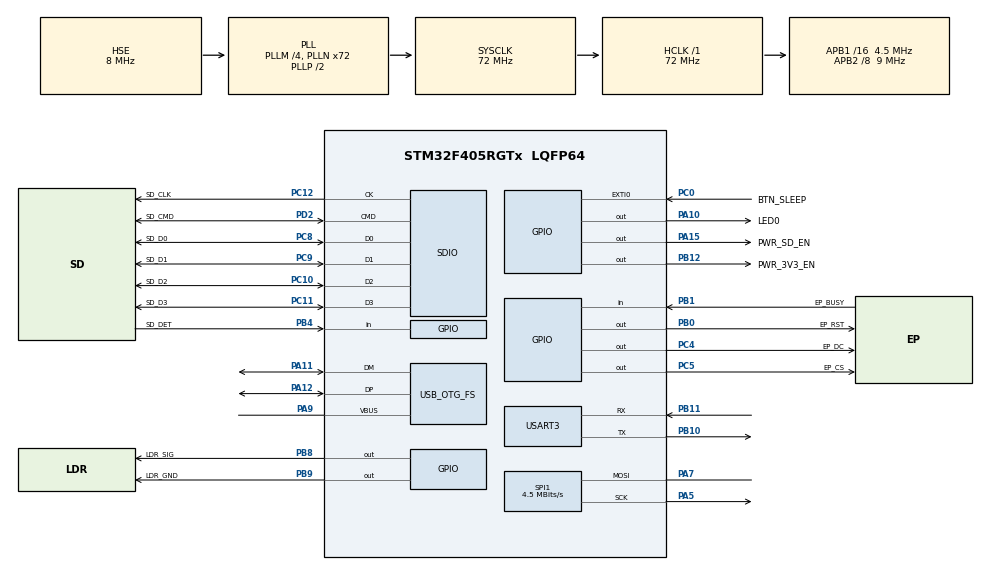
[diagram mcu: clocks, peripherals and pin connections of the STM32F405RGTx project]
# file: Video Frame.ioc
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Mcu.Family=STM32F4
NVIC.USART3_IRQn=true\:0\:0\:true\:false\:true\:false\:true\:true
Dma.SDIO_TX.1.MemInc=DMA_MINC_ENABLE
USB_DEVICE.CLASS_NAME_FS=CDC
PH0-OSC_IN.Signal=RCC_OSC_IN
RCC.CortexFreq_Value=9000000
PC10.GPIO_PuPd=GPIO_PULLUP
FATFS._USE_LFN=0
SPI1.VirtualType=VM_MASTER
FATFS0.BSP.api=Unknown
PB10.Mode=Asynchronous
VP_FATFS_VS_SDIO.Mode=SDIO
PC10.Signal=SDIO_D2
PC12.Signal=SDIO_CK
NVIC.RTC_WKUP_IRQn=true\:5\:0\:false\:false\:true\:false\:true\:true
PC0.GPIO_Label=BTN_SLEEP
VP_RTC_VS_RTC_Activate.Mode=RTC_Enabled
PA11.Mode=Device_Only
PB0.GPIO_Label=EP_RST
USB_DEVICE.VirtualMode-CDC_FS=Cdc
PB11.Signal=USART3_RX
Dma.SDIO_TX.1.PeriphBurst=DMA_PBURST_INC4
RCC.SYSCLKSource=RCC_SYSCLKSOURCE_PLLCLK
ProjectManager.StackSize=0x400
Dma.SDIO_RX.0.Direction=DMA_PERIPH_TO_MEMORY
VP_FREERTOS_VS_CMSIS_V2.Mode=CMSIS_V2
Dma.SDIO_TX.1.Instance=DMA2_Stream6
Dma.SDIO_TX.1.PeriphInc=DMA_PINC_DISABLE
PA15.GPIO_Label=PWR_SD_EN
PC11.GPIO_PuPd=GPIO_PULLUP
FREERTOS.configENABLE_FPU=1
PA12.Signal=USB_OTG_FS_DP
Dma.SDIO_TX.1.PeriphDataAlignment=DMA_PDATAALIGN_WORD
PC10.GPIO_Speed_High_Default=GPIO_SPEED_FREQ_MEDIUM
FATFS._MAX_LFN=12
PA10.PinState=GPIO_PIN_RESET
RCC.RCC_RTC_Clock_Source=RCC_RTCCLKSOURCE_LSE
SPI1.Direction=SPI_DIRECTION_1LINE
RCC.HCLKFreq_Value=72000000
RCC.APB2TimFreq_Value=18000000
SPI1.CalculateBaudRate=4.5 MBits/s
Dma.SDIO_TX.1.FIFOMode=DMA_FIFOMODE_ENABLE
PC9.GPIO_Speed_High_Default=GPIO_SPEED_FREQ_MEDIUM
RCC.AHBFreq_Value=72000000
PH0-OSC_IN.Mode=HSE-External-Oscillator
FATFS0.BSP.ip=GPIO
RCC.HSE_VALUE=8000000
PB3.Mode=Trace_Asynchronous_SW
FATFS0.BSP.i2caddr=0
PB12.GPIO_Label=PWR_3V3_EN
Dma.SDIO_TX.1.MemBurst=DMA_MBURST_INC4
PC14-OSC32_IN.Mode=LSE-External-Oscillator
PC4.GPIO_Label=EP_DC
PA14.Mode=Trace_Asynchronous_SW
VP_SYS_VS_tim1.Mode=TIM1
PB1.GPIO_Label=EP_BUSY
PC11.GPIO_Label=SD_D3
PA10.GPIO_Label=LED0
PC9.Mode=SD_4_bits_Wide_bus
Dma.SDIO_TX.1.Direction=DMA_MEMORY_TO_PERIPH
SH.ADCx_IN0.0=ADC1_IN0
Dma.SDIO_RX.0.MemDataAlignment=DMA_MDATAALIGN_WORD
FREERTOS.configTOTAL_HEAP_SIZE=52000
FATFS._FS_TIMEOUT=1000
USB_DEVICE.APP_RX_DATA_SIZE-CDC_FS=128
PH1-OSC_OUT.Mode=HSE-External-Oscillator
Mcu.Package=LQFP64
PB9.Signal=GPIO_Output
PB1.Signal=GPIO_Input
NVIC.TimeBase=TIM1_UP_TIM10_IRQn
FATFS0.BSP.solution=PB4
NVIC.OTG_FS_IRQn=true\:0\:0\:true\:false\:true\:false\:false\:true
NVIC.TimeBaseIP=TIM1
PA10.Signal=GPIO_Output
USB_OTG_FS.VirtualMode=Device_Only
PA15.Signal=GPIO_Output
PB8.GPIO_ModeDefaultOutputPP=GPIO_MODE_OUTPUT_OD
PC11.Mode=SD_4_bits_Wide_bus
Dma.SDIO_TX.1.FIFOThreshold=DMA_FIFO_THRESHOLD_FULL
Dma.SDIO_TX.1.Priority=DMA_PRIORITY_LOW
RCC.APB2CLKDivider=RCC_HCLK_DIV8
Dma.Request1=SDIO_TX
RCC.APB1TimFreq_Value=9000000
PC5.Signal=GPIO_Output
Dma.SDIO_RX.0.MemBurst=DMA_MBURST_INC4
PC12.GPIO_PuPd=GPIO_NOPULL
Dma.SDIO_RX.0.Instance=DMA2_Stream3
Dma.Request0=SDIO_RX
SPI1.BaudRatePrescaler=SPI_BAUDRATEPRESCALER_2
PB4.Signal=GPIO_Input
Dma.SDIO_RX.0.FIFOMode=DMA_FIFOMODE_ENABLE
PA5.Mode=Simplex_Bidirectional_Master
PC15-OSC32_OUT.Mode=LSE-External-Oscillator
FATFS0.BSP.STBoard=false
Dma.SDIO_RX.0.Mode=DMA_PFCTRL
Dma.SDIO_RX.0.Priority=DMA_PRIORITY_LOW
FREERTOS.Tasks01=consoleTask,24,1024,StartConsoleTask,As weak,(void*)&consoleTask_args,Dynamic,NULL,NULL;displayTask,32,10000,StartDisplayTask,As external,(void*)&displayTask_args,Dynamic,NULL,NULL
RTC.WakeUpCounter=1440
PA7.Mode=Simplex_Bidirectional_Master
PB9.GPIO_Label=LDR_GND
PC10.GPIO_Label=SD_D2
PC9.GPIO_Label=SD_D1
PD2.GPIO_PuPd=GPIO_PULLUP
RTC.WakeUpClock=RTC_WAKEUPCLOCK_CK_SPRE_16BITS
USB_DEVICE.VirtualModeFS=Cdc_FS
FATFS._USE_MUTEX=0
PC11.Signal=SDIO_D3
FATFS0.BSP.mode=Input
FREERTOS.configCHECK_FOR_STACK_OVERFLOW=2
PC8.Signal=SDIO_D0
Dma.SDIO_RX.0.PeriphInc=DMA_PINC_DISABLE
PC4.Signal=GPIO_Output
PC10.Mode=SD_4_bits_Wide_bus
PC0.Signal=GPXTI0
RCC.APB1CLKDivider=RCC_HCLK_DIV16
PC14-OSC32_IN.Signal=RCC_OSC32_IN
PA0-WKUP.GPIO_Label=BAT_ADC
PA0-WKUP.Signal=ADCx_IN0
FATFS0.BSP.instance=PB4
SDIO.ClockPowerSave=SDIO_CLOCK_POWER_SAVE_ENABLE
PC8.GPIO_Label=SD_D0
PA13.Signal=SYS_JTMS-SWDIO
PB8.GPIO_Label=LDR_SIG
PA9.Mode=Activate_VBUS
Dma.SDIO_TX.1.MemDataAlignment=DMA_MDATAALIGN_WORD
Dma.SDIO_RX.0.MemInc=DMA_MINC_ENABLE
PB11.Mode=Asynchronous
FREERTOS.configRECORD_STACK_HIGH_ADDRESS=1
Dma.SDIO_RX.0.FIFOThreshold=DMA_FIFO_THRESHOLD_FULL
ProjectManager.TargetToolchain=STM32CubeIDE
USB_DEVICE.APP_TX_DATA_SIZE-CDC_FS=128
VP_USB_DEVICE_VS_USB_DEVICE_CDC_FS.Mode=CDC_FS
PA9.Signal=USB_OTG_FS_VBUS
PC11.GPIO_Speed_High_Default=GPIO_SPEED_FREQ_MEDIUM
PB4.GPIO_PuPd=GPIO_PULLUP
SDIO.ClockDiv=10
NVIC.DMA2_Stream3_IRQn=true\:5\:0\:true\:false\:true\:true\:false\:true
NVIC.DMA2_Stream6_IRQn=true\:5\:0\:true\:false\:true\:true\:false\:true
PC15-OSC32_OUT.Signal=RCC_OSC32_OUT
PB10.Signal=USART3_TX
Dma.SDIO_RX.0.PeriphDataAlignment=DMA_PDATAALIGN_WORD
PD2.Mode=SD_4_bits_Wide_bus
FATFS.BSP.number=1
PA5.Signal=SPI1_SCK
PC12.Mode=SD_4_bits_Wide_bus
board=custom
RCC.VCOOutputFreq_Value=144000000
PA7.GPIO_Speed=GPIO_SPEED_FREQ_LOW
RCC.APB2Freq_Value=9000000
PB4.GPIO_Label=SD_DET
SPI1.Mode=SPI_MODE_MASTER
PC9.GPIO_PuPd=GPIO_PULLUP
PH1-OSC_OUT.Signal=RCC_OSC_OUT
RCC.RCC_RTC_Clock_SourceVirtual=RCC_RTCCLKSOURCE_LSE
Dma.SDIO_TX.1.Mode=DMA_PFCTRL
PA13.Mode=Trace_Asynchronous_SW
Mcu.Name=STM32F405RGTx
PC8.Mode=SD_4_bits_Wide_bus
PC12.GPIO_Speed_High_Default=GPIO_SPEED_FREQ_MEDIUM
RCC.48MHZClocksFreq_Value=48000000
PC8.GPIO_Speed_High_Default=GPIO_SPEED_FREQ_MEDIUM
PC8.GPIO_PuPd=GPIO_PULLUP
PB3.Signal=SYS_JTDO-SWO
NVIC.EXTI0_IRQn=true\:5\:0\:false\:false\:true\:false\:true\:true
RCC.SYSCLKFreq_VALUE=72000000
PA12.Mode=Device_Only
PC5.GPIO_Label=EP_CS
USART3.VirtualMode=VM_ASYNC
PC12.GPIO_Label=SD_CLK
PA11.Signal=USB_OTG_FS_DM
PA14.Signal=SYS_JTCK-SWCLK
ProjectManager.HeapSize=0x100
NVIC.TIM1_UP_TIM10_IRQn=true\:0\:0\:false\:false\:true\:false\:false\:true
RCC.HSI_VALUE=16000000
VP_RTC_VS_RTC_WakeUp_intern.Mode=WakeUp
PA5.GPIO_Speed=GPIO_SPEED_FREQ_LOW
RCC.PLLQ=3
NVIC.PriorityGroup=NVIC_PRIORITYGROUP_4
RCC.PLLM=4
RCC.PLLN=72
Dma.SDIO_RX.0.PeriphBurst=DMA_PBURST_INC4
PB8.Signal=GPIO_Output
RCC.Cortex_Div=SYSTICK_CLKSOURCE_HCLK_DIV8
PC9.Signal=SDIO_D1
PD2.Signal=SDIO_CMD
PD2.GPIO_Speed_High_Default=GPIO_SPEED_FREQ_MEDIUM
RCC.APB1Freq_Value=4500000
PB0.Signal=GPIO_Output
PB12.Signal=GPIO_Output
PD2.GPIO_Label=SD_CMD
FATFS0.BSP.name=Detect_SDIO
PA7.Signal=SPI1_MOSI

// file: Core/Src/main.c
/* USER CODE BEGIN Header */
/**
  ******************************************************************************
  * @file           : main.c
  * @brief          : Main program body
  ******************************************************************************
  * @attention
  *
  * <h2><center>&copy; Copyright (c) 2021 STMicroelectronics.
  * All rights reserved.</center></h2>
  *
  * This software component is licensed by ST under BSD 3-Clause license,
  * the "License"; You may not use this file except in compliance with the
  * License. You may obtain a copy of the License at:
  *                        opensource.org/licenses/BSD-3-Clause
  *
  ******************************************************************************
  */
/* USER CODE END Header */

#include "main.h"
#include "cmsis_os.h"
#include "fatfs.h"
#include "usb_device.h"

/* USER CODE BEGIN Includes */
#include <stdio.h>
#include <stdlib.h>
#include <ctype.h>
#include <stdbool.h>
#include <stdint.h>
#include <string.h>

#include "hardware/power.h"
#include "hardware/sd.h"
#include "tasks/console_task.h"
#include "tasks/display_task.h"
/* USER CODE END Includes */

RTC_HandleTypeDef hrtc;

SD_HandleTypeDef hsd;
DMA_HandleTypeDef hdma_sdio_rx;
DMA_HandleTypeDef hdma_sdio_tx;

SPI_HandleTypeDef hspi1;

UART_HandleTypeDef huart3;

/* Definitions for consoleTask */
osThreadId_t consoleTaskHandle;
const osThreadAttr_t consoleTask_attributes = {
  .name = "consoleTask",
  .priority = (osPriority_t) osPriorityNormal,
  .stack_size = 1024 * 4
};
/* Definitions for displayTask */
osThreadId_t displayTaskHandle;
const osThreadAttr_t displayTask_attributes = {
  .name = "displayTask",
  .priority = (osPriority_t) osPriorityAboveNormal,
  .stack_size = 10000 * 4
};
/* USER CODE BEGIN PV */

FATFS fs;
ConsoleTaskArgs_t consoleTask_args;
DisplayTaskArgs_t displayTask_args;
volatile bool sleep_cmd_disabled = false;

/* USER CODE END PV */

void SystemClock_Config(void);
static void MX_GPIO_Init(void);
static void MX_DMA_Init(void);
static void MX_RTC_Init(void);
static void MX_SPI1_Init(void);
static void MX_SDIO_SD_Init(void);
static void MX_USART3_UART_Init(void);
void StartConsoleTask(void *argument);
extern void StartDisplayTask(void *argument);

/* USER CODE BEGIN 0 */

/*
 * Called when an EXTI interrupt is triggered
 * */
void HAL_GPIO_EXTI_Callback(uint16_t GPIO_Pin)
{
	if(GPIO_Pin & BTN_SLEEP_Pin)
	{
		sleep_cmd_disabled = true;
	}
}

/* USER CODE END 0 */

int main(void)
{
  /* USER CODE BEGIN 1 */
  /*
   * The stack frame for main is reused when osKernelStart(); i called
   * DO NOT allocate variables in this stack frame if they are used
   * after osKernelStart(); (for example as task arguments)
   * */

  /* USER CODE END 1 */

  /* MCU Configuration--------------------------------------------------------*/

  /* Reset of all peripherals, Initializes the Flash interface and the Systick. */
  HAL_Init();

  /* Configure the system clock */
  SystemClock_Config();

  /* Initialize all configured peripherals */
  MX_GPIO_Init();
  MX_DMA_Init();
  MX_RTC_Init();
  MX_SPI1_Init();
  MX_FATFS_Init();
  MX_SDIO_SD_Init();
  MX_USART3_UART_Init();
  /* USER CODE BEGIN 2 */

  //Enable power
  printf("Enabling power\n");
  PWR_Enable(PWR_3V3);
  HAL_Delay(100);

  //Flash LED0 on startup
  for(int i = 0; i < 4; i++)
  {
	HAL_GPIO_TogglePin(LED0_GPIO_Port, LED0_Pin);
  	HAL_Delay(250);
  }

  //Load startup commands
  const char* cmd_str = "update\n""sleep\n";
  if(!InitCMDBuffer(cmd_str))
	  printf("ERROR: CMD string too long for buffer\n");

  /* USER CODE END 2 */

  /* Init scheduler */
  osKernelInitialize();

  /* USER CODE BEGIN RTOS_QUEUES */
  /* add queues, ... */
  displayTask_args.message_queue =  osMessageQueueNew(1, sizeof(DisplayMessage_t), NULL);
  /* USER CODE END RTOS_QUEUES */

  /* Create the thread(s) */
  /* creation of consoleTask */
  consoleTaskHandle = osThreadNew(StartConsoleTask, (void*)&consoleTask_args, &consoleTask_attributes);

  /* creation of displayTask */
  displayTaskHandle = osThreadNew(StartDisplayTask, (void*)&displayTask_args, &displayTask_attributes);

  /* USER CODE BEGIN RTOS_THREADS */

  consoleTask_args.huart = &huart3;
  consoleTask_args.displayTaskId = displayTaskHandle;
  consoleTask_args.display_message_queue = displayTask_args.message_queue;
  consoleTask_args.sleep_cmd_disabled = &sleep_cmd_disabled;

  /* USER CODE END RTOS_THREADS */

  /* Start scheduler */
  osKernelStart();

  /* We should never get here as control is now taken by the scheduler */
  /* Infinite loop */
  while (1)
  {

  }
}

void SystemClock_Config(void)
{
  RCC_OscInitTypeDef RCC_OscInitStruct = {0};
  RCC_ClkInitTypeDef RCC_ClkInitStruct = {0};
  RCC_PeriphCLKInitTypeDef PeriphClkInitStruct = {0};

  /** Configure the main internal regulator output voltage
  */
  __HAL_RCC_PWR_CLK_ENABLE();
  __HAL_PWR_VOLTAGESCALING_CONFIG(PWR_REGULATOR_VOLTAGE_SCALE1);
  /** Initializes the CPU, AHB and APB busses clocks
  */
  RCC_OscInitStruct.OscillatorType = RCC_OSCILLATORTYPE_HSE|RCC_OSCILLATORTYPE_LSE;
  RCC_OscInitStruct.HSEState = RCC_HSE_ON;
  RCC_OscInitStruct.LSEState = RCC_LSE_ON;
  RCC_OscInitStruct.PLL.PLLState = RCC_PLL_ON;
  RCC_OscInitStruct.PLL.PLLSource = RCC_PLLSOURCE_HSE;
  RCC_OscInitStruct.PLL.PLLM = 4;
  RCC_OscInitStruct.PLL.PLLN = 72;
  RCC_OscInitStruct.PLL.PLLP = RCC_PLLP_DIV2;
  RCC_OscInitStruct.PLL.PLLQ = 3;
  if (HAL_RCC_OscConfig(&RCC_OscInitStruct) != HAL_OK)
  {
    Error_Handler();
  }
  /** Initializes the CPU, AHB and APB busses clocks
  */
  RCC_ClkInitStruct.ClockType = RCC_CLOCKTYPE_HCLK|RCC_CLOCKTYPE_SYSCLK
                              |RCC_CLOCKTYPE_PCLK1|RCC_CLOCKTYPE_PCLK2;
  RCC_ClkInitStruct.SYSCLKSource = RCC_SYSCLKSOURCE_PLLCLK;
  RCC_ClkInitStruct.AHBCLKDivider = RCC_SYSCLK_DIV1;
  RCC_ClkInitStruct.APB1CLKDivider = RCC_HCLK_DIV16;
  RCC_ClkInitStruct.APB2CLKDivider = RCC_HCLK_DIV8;

  if (HAL_RCC_ClockConfig(&RCC_ClkInitStruct, FLASH_LATENCY_2) != HAL_OK)
  {
    Error_Handler();
  }
  PeriphClkInitStruct.PeriphClockSelection = RCC_PERIPHCLK_RTC;
  PeriphClkInitStruct.RTCClockSelection = RCC_RTCCLKSOURCE_LSE;
  if (HAL_RCCEx_PeriphCLKConfig(&PeriphClkInitStruct) != HAL_OK)
  {
    Error_Handler();
  }
}

static void MX_RTC_Init(void)
{

  RTC_TimeTypeDef sTime = {0};
  RTC_DateTypeDef sDate = {0};

  /** Initialize RTC Only
  */
  hrtc.Instance = RTC;
  hrtc.Init.HourFormat = RTC_HOURFORMAT_24;
  hrtc.Init.AsynchPrediv = 127;
  hrtc.Init.SynchPrediv = 255;
  hrtc.Init.OutPut = RTC_OUTPUT_DISABLE;
  hrtc.Init.OutPutPolarity = RTC_OUTPUT_POLARITY_HIGH;
  hrtc.Init.OutPutType = RTC_OUTPUT_TYPE_OPENDRAIN;
  if (HAL_RTC_Init(&hrtc) != HAL_OK)
  {
    Error_Handler();
  }

  /** Initialize RTC and set the Time and Date
  */
  sTime.Hours = 0x0;
  sTime.Minutes = 0x0;
  sTime.Seconds = 0x0;
  sTime.DayLightSaving = RTC_DAYLIGHTSAVING_NONE;
  sTime.StoreOperation = RTC_STOREOPERATION_RESET;
  if (HAL_RTC_SetTime(&hrtc, &sTime, RTC_FORMAT_BCD) != HAL_OK)
  {
    Error_Handler();
  }
  sDate.WeekDay = RTC_WEEKDAY_MONDAY;
  sDate.Month = RTC_MONTH_JANUARY;
  sDate.Date = 0x1;
  sDate.Year = 0x0;

  if (HAL_RTC_SetDate(&hrtc, &sDate, RTC_FORMAT_BCD) != HAL_OK)
  {
    Error_Handler();
  }
  /** Enable the WakeUp
  */
  if (HAL_RTCEx_SetWakeUpTimer_IT(&hrtc, 1440, RTC_WAKEUPCLOCK_CK_SPRE_16BITS) != HAL_OK)
  {
    Error_Handler();
  }

}

static void MX_SDIO_SD_Init(void)
{

  hsd.Instance = SDIO;
  hsd.Init.ClockEdge = SDIO_CLOCK_EDGE_RISING;
  hsd.Init.ClockBypass = SDIO_CLOCK_BYPASS_DISABLE;
  hsd.Init.ClockPowerSave = SDIO_CLOCK_POWER_SAVE_ENABLE;
  hsd.Init.BusWide = SDIO_BUS_WIDE_1B;
  hsd.Init.HardwareFlowControl = SDIO_HARDWARE_FLOW_CONTROL_DISABLE;
  hsd.Init.ClockDiv = 10;

}

static void MX_SPI1_Init(void)
{

  /* SPI1 parameter configuration*/
  hspi1.Instance = SPI1;
  hspi1.Init.Mode = SPI_MODE_MASTER;
  hspi1.Init.Direction = SPI_DIRECTION_1LINE;
  hspi1.Init.DataSize = SPI_DATASIZE_8BIT;
  hspi1.Init.CLKPolarity = SPI_POLARITY_LOW;
  hspi1.Init.CLKPhase = SPI_PHASE_1EDGE;
  hspi1.Init.NSS = SPI_NSS_SOFT;
  hspi1.Init.BaudRatePrescaler = SPI_BAUDRATEPRESCALER_2;
  hspi1.Init.FirstBit = SPI_FIRSTBIT_MSB;
  hspi1.Init.TIMode = SPI_TIMODE_DISABLE;
  hspi1.Init.CRCCalculation = SPI_CRCCALCULATION_DISABLE;
  hspi1.Init.CRCPolynomial = 10;
  if (HAL_SPI_Init(&hspi1) != HAL_OK)
  {
    Error_Handler();
  }

}

static void MX_USART3_UART_Init(void)
{

  huart3.Instance = USART3;
  huart3.Init.BaudRate = 115200;
  huart3.Init.WordLength = UART_WORDLENGTH_8B;
  huart3.Init.StopBits = UART_STOPBITS_1;
  huart3.Init.Parity = UART_PARITY_NONE;
  huart3.Init.Mode = UART_MODE_TX_RX;
  huart3.Init.HwFlowCtl = UART_HWCONTROL_NONE;
  huart3.Init.OverSampling = UART_OVERSAMPLING_16;
  if (HAL_UART_Init(&huart3) != HAL_OK)
  {
    Error_Handler();
  }

}

static void MX_DMA_Init(void)
{

  /* DMA controller clock enable */
  __HAL_RCC_DMA2_CLK_ENABLE();

  /* DMA interrupt init */
  /* DMA2_Stream3_IRQn interrupt configuration */
  HAL_NVIC_SetPriority(DMA2_Stream3_IRQn, 5, 0);
  HAL_NVIC_EnableIRQ(DMA2_Stream3_IRQn);
  /* DMA2_Stream6_IRQn interrupt configuration */
  HAL_NVIC_SetPriority(DMA2_Stream6_IRQn, 5, 0);
  HAL_NVIC_EnableIRQ(DMA2_Stream6_IRQn);

}

static void MX_GPIO_Init(void)
{
  GPIO_InitTypeDef GPIO_InitStruct = {0};

  /* GPIO Ports Clock Enable */
  __HAL_RCC_GPIOC_CLK_ENABLE();
  __HAL_RCC_GPIOH_CLK_ENABLE();
  __HAL_RCC_GPIOA_CLK_ENABLE();
  __HAL_RCC_GPIOB_CLK_ENABLE();
  __HAL_RCC_GPIOD_CLK_ENABLE();

  /*Configure GPIO pin Output Level */
  HAL_GPIO_WritePin(GPIOC, EP_DC_Pin|EP_CS_Pin, GPIO_PIN_RESET);

  /*Configure GPIO pin Output Level */
  HAL_GPIO_WritePin(GPIOB, EP_RST_Pin|PWR_3V3_EN_Pin|LDR_SIG_Pin|LDR_GND_Pin, GPIO_PIN_RESET);

  /*Configure GPIO pin Output Level */
  HAL_GPIO_WritePin(GPIOA, LED0_Pin|PWR_SD_EN_Pin, GPIO_PIN_RESET);

  /*Configure GPIO pins : PC13 PC1 PC2 PC3
                           PC6 PC7 */
  GPIO_InitStruct.Pin = GPIO_PIN_13|GPIO_PIN_1|GPIO_PIN_2|GPIO_PIN_3
                          |GPIO_PIN_6|GPIO_PIN_7;
  GPIO_InitStruct.Mode = GPIO_MODE_ANALOG;
  GPIO_InitStruct.Pull = GPIO_NOPULL;
  HAL_GPIO_Init(GPIOC, &GPIO_InitStruct);

  /*Configure GPIO pin : BTN_SLEEP_Pin */
  GPIO_InitStruct.Pin = BTN_SLEEP_Pin;
  GPIO_InitStruct.Mode = GPIO_MODE_IT_RISING;
  GPIO_InitStruct.Pull = GPIO_NOPULL;
  HAL_GPIO_Init(BTN_SLEEP_GPIO_Port, &GPIO_InitStruct);

  /*Configure GPIO pins : BAT_ADC_Pin PA1 PA2 PA3
                           PA4 PA6 PA8 */
  GPIO_InitStruct.Pin = BAT_ADC_Pin|GPIO_PIN_1|GPIO_PIN_2|GPIO_PIN_3
                          |GPIO_PIN_4|GPIO_PIN_6|GPIO_PIN_8;
  GPIO_InitStruct.Mode = GPIO_MODE_ANALOG;
  GPIO_InitStruct.Pull = GPIO_NOPULL;
  HAL_GPIO_Init(GPIOA, &GPIO_InitStruct);

  /*Configure GPIO pins : EP_DC_Pin EP_CS_Pin */
  GPIO_InitStruct.Pin = EP_DC_Pin|EP_CS_Pin;
  GPIO_InitStruct.Mode = GPIO_MODE_OUTPUT_PP;
  GPIO_InitStruct.Pull = GPIO_NOPULL;
  GPIO_InitStruct.Speed = GPIO_SPEED_FREQ_LOW;
  HAL_GPIO_Init(GPIOC, &GPIO_InitStruct);

  /*Configure GPIO pins : EP_RST_Pin PWR_3V3_EN_Pin LDR_GND_Pin */
  GPIO_InitStruct.Pin = EP_RST_Pin|PWR_3V3_EN_Pin|LDR_GND_Pin;
  GPIO_InitStruct.Mode = GPIO_MODE_OUTPUT_PP;
  GPIO_InitStruct.Pull = GPIO_NOPULL;
  GPIO_InitStruct.Speed = GPIO_SPEED_FREQ_LOW;
  HAL_GPIO_Init(GPIOB, &GPIO_InitStruct);

  /*Configure GPIO pin : EP_BUSY_Pin */
  GPIO_InitStruct.Pin = EP_BUSY_Pin;
  GPIO_InitStruct.Mode = GPIO_MODE_INPUT;
  GPIO_InitStruct.Pull = GPIO_NOPULL;
  HAL_GPIO_Init(EP_BUSY_GPIO_Port, &GPIO_InitStruct);

  /*Configure GPIO pins : PB2 PB13 PB14 PB15
                           PB5 PB6 PB7 */
  GPIO_InitStruct.Pin = GPIO_PIN_2|GPIO_PIN_13|GPIO_PIN_14|GPIO_PIN_15
                          |GPIO_PIN_5|GPIO_PIN_6|GPIO_PIN_7;
  GPIO_InitStruct.Mode = GPIO_MODE_ANALOG;
  GPIO_InitStruct.Pull = GPIO_NOPULL;
  HAL_GPIO_Init(GPIOB, &GPIO_InitStruct);

  /*Configure GPIO pins : LED0_Pin PWR_SD_EN_Pin */
  GPIO_InitStruct.Pin = LED0_Pin|PWR_SD_EN_Pin;
  GPIO_InitStruct.Mode = GPIO_MODE_OUTPUT_PP;
  GPIO_InitStruct.Pull = GPIO_NOPULL;
  GPIO_InitStruct.Speed = GPIO_SPEED_FREQ_LOW;
  HAL_GPIO_Init(GPIOA, &GPIO_InitStruct);

  /*Configure GPIO pin : SD_DET_Pin */
  GPIO_InitStruct.Pin = SD_DET_Pin;
  GPIO_InitStruct.Mode = GPIO_MODE_INPUT;
  GPIO_InitStruct.Pull = GPIO_PULLUP;
  HAL_GPIO_Init(SD_DET_GPIO_Port, &GPIO_InitStruct);

  /*Configure GPIO pin : LDR_SIG_Pin */
  GPIO_InitStruct.Pin = LDR_SIG_Pin;
  GPIO_InitStruct.Mode = GPIO_MODE_OUTPUT_OD;
  GPIO_InitStruct.Pull = GPIO_NOPULL;
  GPIO_InitStruct.Speed = GPIO_SPEED_FREQ_LOW;
  HAL_GPIO_Init(LDR_SIG_GPIO_Port, &GPIO_InitStruct);

  /* EXTI interrupt init*/
  HAL_NVIC_SetPriority(EXTI0_IRQn, 5, 0);
  HAL_NVIC_EnableIRQ(EXTI0_IRQn);

}

__weak void StartConsoleTask(void *argument)
{
  /* init code for USB_DEVICE */
  MX_USB_DEVICE_Init();
  for(;;)
  {
    osDelay(1);
  }
}

 /**
  * @brief  Period elapsed callback in non blocking mode
  * @note   This function is called  when TIM1 interrupt took place, inside
  * HAL_TIM_IRQHandler(). It makes a direct call to HAL_IncTick() to increment
  * a global variable "uwTick" used as application time base.
  * @param  htim : TIM handle
  * @retval None
  */
void HAL_TIM_PeriodElapsedCallback(TIM_HandleTypeDef *htim)
{
  if (htim->Instance == TIM1) {
    HAL_IncTick();
  }
}

void Error_Handler(void)
{
}

/************************ (C) COPYRIGHT STMicroelectronics *****END OF FILE****/

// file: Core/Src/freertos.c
/* USER CODE BEGIN Header */
/**
  ******************************************************************************
  * File Name          : freertos.c
  * Description        : Code for freertos applications
  ******************************************************************************
  * @attention
  *
  * <h2><center>&copy; Copyright (c) 2021 STMicroelectronics.
  * All rights reserved.</center></h2>
  *
  * This software component is licensed by ST under Ultimate Liberty license
  * SLA0044, the "License"; You may not use this file except in compliance with
  * the License. You may obtain a copy of the License at:
  *                             www.st.com/SLA0044
  *
  ******************************************************************************
  */
/* USER CODE END Header */

#include "FreeRTOS.h"
#include "task.h"
#include "main.h"

/* Hook prototypes */
void vApplicationStackOverflowHook(xTaskHandle xTask, signed char *pcTaskName);

/* USER CODE BEGIN 4 */
__weak void vApplicationStackOverflowHook(xTaskHandle xTask, signed char *pcTaskName)
{
   /* Run time stack overflow checking is performed if
   configCHECK_FOR_STACK_OVERFLOW is defined to 1 or 2. This hook function is
   called if a stack overflow is detected. */
}
/* USER CODE END 4 */

/************************ (C) COPYRIGHT STMicroelectronics *****END OF FILE****/
